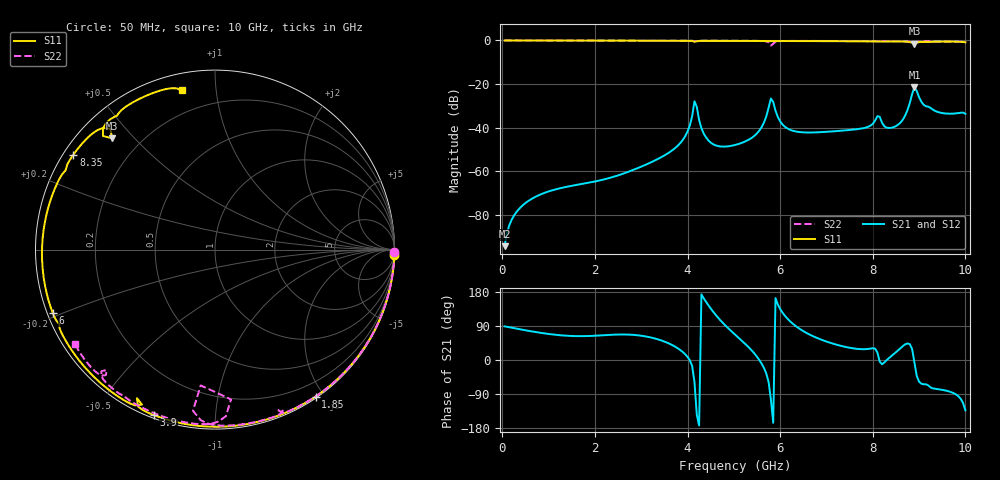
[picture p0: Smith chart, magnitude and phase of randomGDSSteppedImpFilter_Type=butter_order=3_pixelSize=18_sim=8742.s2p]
! freq	dB(S11)	phase(S11)	dB(S12)	phase(S12)
!  dB(S21)	phase(S21)	dB(S22)	phase(S22)
!S-par simulation data
#  GHz  S  DB  R 50
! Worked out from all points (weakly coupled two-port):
!   200 points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, 50 MHz to 10 GHz, reference 50 ohm
!   highest |S21| = -21.51 dB at 8.9 GHz (marker M1); lowest = -94.3 dB at 50 MHz (marker M2)
!   lowest |S11| = -1.5 dB at 8.9 GHz (marker M3), VSWR 11.93, Z = 4.98 + j21.7 ohm
!   |S11| at or under -10 dB: nowhere
!   |S22| runs from -2.4 to 0.0 dB; largest |S21 - S12| = 0
!   S11 on the Smith chart (normalised r, x): 50 MHz: 0, -73; 1.85 GHz: 0.02, -1.90; 3.9 GHz: 0.01, -0.70; 6 GHz: 0.02, -0.19; 8.35 GHz: 0.03, +0.30; 10 GHz: 0.08, +0.81
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0.05  -0.00 -1.6  -94.25 88.8  -94.25 88.8  -0.00 -0.9
1.75  -0.07 -52.8  -65.63 63.0  -65.63 63.0  -0.04 -29.4
1.85  -0.07 -55.6  -65.24 63.2  -65.24 63.2  -0.04 -31.1
3.4  -0.12 -97.5  -53.86 53.0  -53.86 53.0  -0.07 -56.0
3.9  -0.15 -110.3  -45.51 20.8  -45.51 20.8  -0.09 -63.9
4.05  -0.18 -114.4  -38.92 -0.9  -38.92 -0.9  -0.11 -66.5
4.15  -0.59 -117.7  -27.90 -58.4  -27.90 -58.4  -0.33 -68.5
4.3  -0.18 -118.8  -40.18 173.2  -40.18 173.2  -0.11 -69.3
4.45  -0.17 -122.7  -45.80 144.3  -45.80 144.3  -0.11 -71.8
5.05  -0.20 -137.0  -47.75 64.6  -47.75 64.6  -0.13 -81.2
5.55  -0.23 -148.6  -41.30 -0.1  -41.30 -0.1  -0.19 -89.9
5.8  -0.34 -154.4  -26.59 -104.0  -26.59 -104.0  -2.37 -96.0
5.85  -0.31 -155.0  -28.19 -165.7  -28.19 -165.7  -1.52 -83.9
6  -0.26 -158.6  -37.06 134.7  -37.06 134.7  -0.29 -90.4
6.7  -0.30 -174.6  -42.16 63.4  -42.16 63.4  -0.21 -102.7
7.85  -0.41 158.4  -39.91 28.6  -39.91 28.6  -0.29 -118.6
8.1  -0.51 152.2  -34.69 19.9  -34.69 19.9  -0.38 -121.9
8.35  -0.45 146.2  -40.08 5.2  -40.08 5.2  -0.33 -125.1
8.65  -0.51 137.9  -36.24 36.8  -36.24 36.8  -0.38 -129.5
8.9  -1.46 132.8  -21.51 -6.5  -21.51 -6.5  -0.89 -132.0
9.15  -0.64 127.3  -30.18 -64.1  -30.18 -64.1  -0.43 -134.5
10  -0.86 101.7  -33.64 -132.7  -33.64 -132.7  -0.55 -146.1
